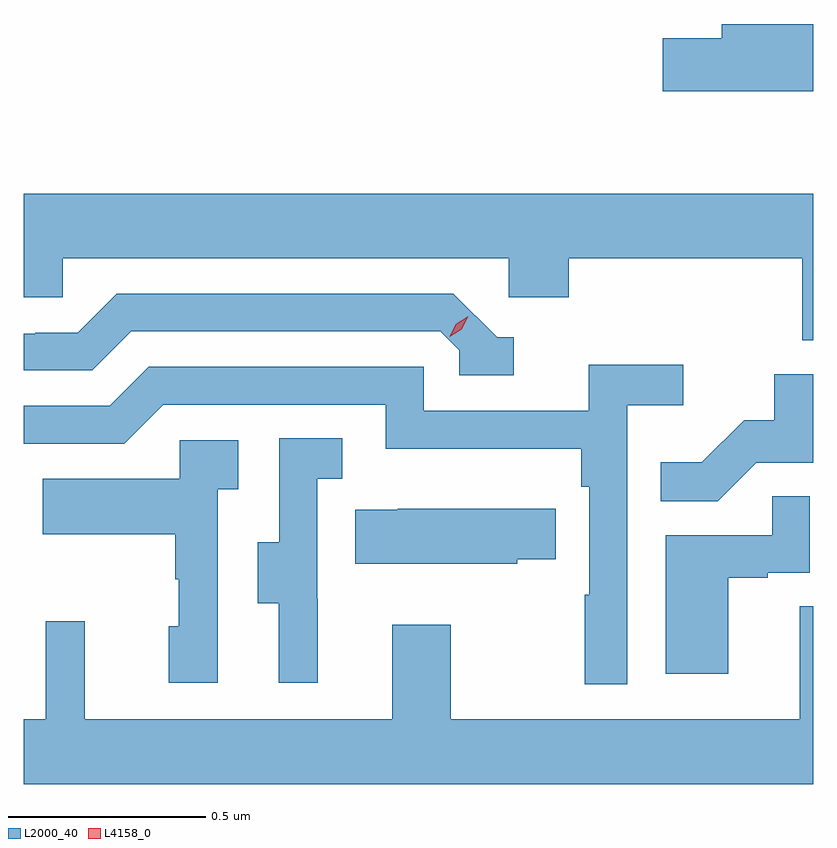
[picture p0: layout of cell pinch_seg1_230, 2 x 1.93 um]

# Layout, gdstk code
import gdstk
lib = gdstk.Library(unit=1e-6, precision=1e-09)
def P(c, l, *ps):  # polygons
    for p in ps: c.add(gdstk.Polygon(p, *l))
L2000_40 = (2000, 40)
L4158_0 = (4158, 0)

pinch_seg1_230 = lib.new_cell('pinch_seg1_230')
P(pinch_seg1_230, L2000_40, [(983.565,565.646),(983.333,565.646),(983.333,565.61),(983.184,565.61),(983.184,565.475),(983.565,565.475)],
  [(983.565,565.216),(981.565,565.216),(981.565,564.954),(981.663,564.954),(981.663,565.052),(982.794,565.052),(982.794,564.954),(982.946,564.954),(982.946,565.052),(983.537,565.052),(983.537,564.844),(983.565,564.844)],
  [(982.807,564.852),(982.764,564.852),(982.653,564.963),(981.8,564.963),(981.701,564.864),(981.594,564.864),(981.594,564.861),(981.565,564.861),(981.565,564.768),(981.738,564.768),(981.837,564.867),(982.62,564.867),(982.668,564.819),(982.668,564.756),(982.807,564.756)],
  [(983.094,564.68),(983.236,564.68),(983.236,564.782),(982.997,564.782),(982.997,564.666),(982.578,564.666),(982.578,564.777),(981.881,564.777),(981.782,564.678),(981.565,564.678),(981.565,564.582),(981.819,564.582),(981.918,564.681),(982.482,564.681),(982.482,564.569),(982.978,564.569),(982.978,564.473),(982.998,564.473),(982.998,564.2),(982.986,564.2),(982.986,563.973),(983.094,563.973)],
  [(983.421,564.534),(983.565,564.534),(983.565,564.759),(983.467,564.759),(983.467,564.642),(983.39,564.642),(983.283,564.535),(983.179,564.535),(983.179,564.436),(983.323,564.436)],
  [(982.31,564.189),(982.308,564.189),(982.308,564.493),(982.372,564.493),(982.372,564.596),(982.212,564.596),(982.212,564.333),(982.157,564.333),(982.157,564.178),(982.211,564.178),(982.211,563.976),(982.31,563.976)],
  [(982.056,564.467),(982.108,564.467),(982.108,564.591),(981.96,564.591),(981.96,564.493),(981.613,564.493),(981.613,564.353),(981.948,564.353),(981.948,564.239),(981.958,564.239),(981.958,564.12),(981.932,564.12),(981.932,563.976),(982.056,563.976)],
  [(983.35,564.243),(983.45,564.243),(983.45,564.255),(983.556,564.255),(983.556,564.449),(983.461,564.449),(983.461,564.351),(983.192,564.351),(983.192,564),(983.35,564)],
  [(982.815,564.289),(982.913,564.289),(982.913,564.418),(982.513,564.418),(982.513,564.415),(982.405,564.415),(982.405,564.278),(982.815,564.278)],
  [(982.499,564.124),(982.499,563.884),(981.719,563.884),(981.719,564.133),(981.621,564.133),(981.621,563.884),(981.565,563.884),(981.565,563.72),(983.565,563.72),(983.565,564.17),(983.531,564.17),(983.531,563.884),(982.647,563.884),(982.647,564.124)])
P(pinch_seg1_230, L4158_0, [(982.644,564.853),(982.644,564.853),(982.66,564.885),(982.691,564.905),(982.691,564.905),(982.691,564.905),(982.675,564.872),(982.644,564.853)])

lib.write_gds('pinch_seg1_230.gds')
